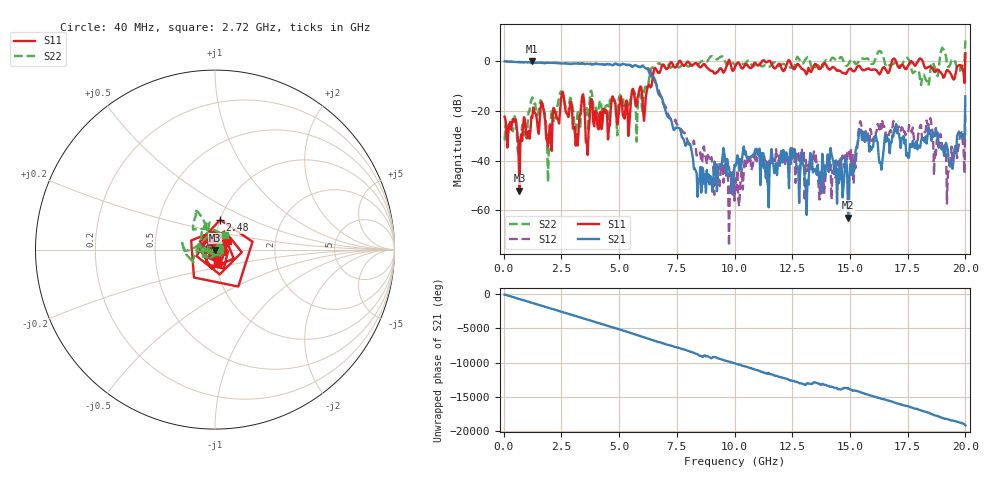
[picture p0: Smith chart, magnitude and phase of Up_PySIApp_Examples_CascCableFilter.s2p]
# MHz MA S R 50.0
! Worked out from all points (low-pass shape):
!   500 points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, 40 MHz to 20 GHz, reference 50 ohm
!   highest |S21| = -0.01 dB at 1.24 GHz (marker M1); lowest = -62.9 dB at 14.92 GHz (marker M2)
!   |S21| within 3 dB of the highest: start of sweep to 6.201 GHz
!   lowest |S11| = -52.1 dB at 680 MHz (marker M3), VSWR 1.00, Z = 50.1 - j0.239 ohm
!   |S11| at or under -10 dB: start of sweep to 6.254 GHz; 6.334 GHz to 6.403 GHz (68.83 MHz wide, 1.08 % of centre)
!   |S22| runs from -48.7 to 8.4 dB; largest |S21 - S12| = 0.16
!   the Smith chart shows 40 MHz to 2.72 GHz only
!   S11 on the Smith chart (normalised r, x): 40 MHz: 1.03, -0.15; 2.48 GHz: 1.00, +0.34; 2.72 GHz: 1.16, +0.11
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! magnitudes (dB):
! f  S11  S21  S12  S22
! 40 MHz  -22.4  0.0  0.0  -31.9
! 680 MHz  -52.1  -0.3  -0.3  -31.5
! 1.24 GHz  -22.7  0.0  0.2  -14.5
! 1.92 GHz  -34.3  -0.7  -0.6  -48.7
! 2.48 GHz  -15.5  -0.9  -0.9  -12.1
! 2.72 GHz  -21.0  -0.9  -0.9  -20.3
! 3.16 GHz  -29.3  -0.9  -0.9  -24.9
! 3.4 GHz  -14.1  -1.0  -0.8  -15.5
! 3.64 GHz  -37.8  -1.0  -1.0  -20.2
! 5.8 GHz  -14.7  -2.0  -2.0  -19.1
! 6.72 GHz  -4.8  -13.4  -11.8  -0.8
! 8.48 GHz  -2.3  -47.3  -37.0  -0.7
! 10.04 GHz  -1.9  -42.3  -47.3  -1.4
! 12.52 GHz  -2.7  -37.6  -35.1  -2.6
! 13.12 GHz  -5.3  -61.9  -42.9  1.3
! 13.36 GHz  -3.6  -40.7  -39.9  -3.1
! 14.92 GHz  -3.6  -62.9  -36.5  -1.4
! 15.44 GHz  -2.2  -28.7  -24.2  0.8
! 16.68 GHz  -4.5  -31.4  -29.9  -1.7
! 18.4 GHz  -2.3  -26.5  -25.9  -9.8
! 19.4 GHz  -5.6  -41.6  -34.3  0.4
! 20 GHz  3.1  -14.1  -21.7  8.4
